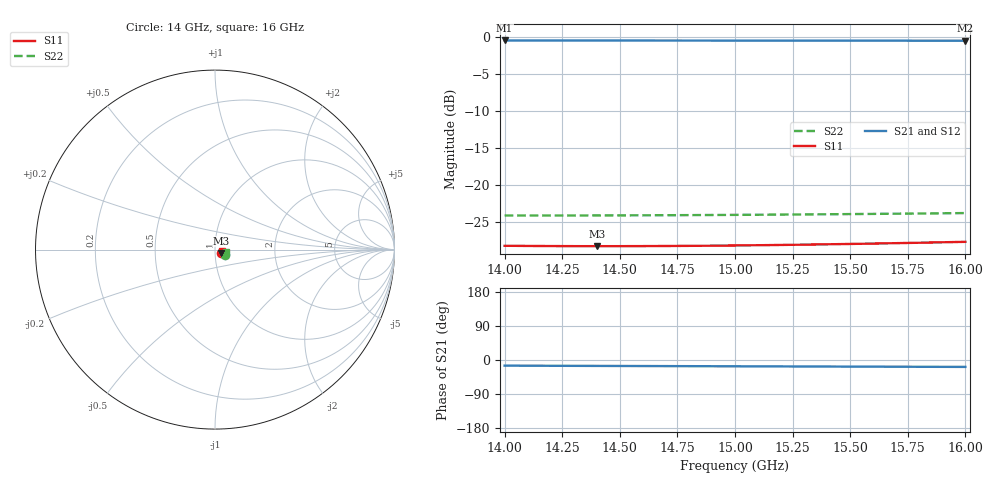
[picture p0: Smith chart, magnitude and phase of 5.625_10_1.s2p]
! Created Tue Dec 15 14:15:00 2020
# hz S ma R 50
! 2 Port Network Data from Sweep1.SP1.SP block
! freq  magS11  angS11  magS21  angS21  magS12  angS12  magS22  angS22
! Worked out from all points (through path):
!   21 points, 14 GHz to 16 GHz, reference 50 ohm
!   highest |S21| = -0.53 dB at 14 GHz (marker M1); lowest = -0.6 dB at 16 GHz (marker M2)
!   group delay of S21, straight-line fit = 4.6 ps
!   lowest |S11| = -28.3 dB at 14.4 GHz (marker M3), VSWR 1.08, Z = 53.5 - j1.94 ohm
!   |S11| at or under -10 dB: start of sweep to end of sweep
!   |S22| runs from -24.2 to -23.9 dB; largest |S21 - S12| = 0
1.4e10  0.03859 -33.6  0.9408 -14.9  0.9408 -14.9  0.06181 -27.7
1.41e10  0.03849 -32.2  0.9406 -15.1  0.9406 -15.1  0.0618 -26.9
1.42e10  0.03841 -30.8  0.9404 -15.3  0.9404 -15.3  0.06181 -26.1
1.43e10  0.03837 -29.5  0.9402 -15.4  0.9402 -15.4  0.06183 -25.4
1.44e10  0.03835 -28.1  0.94 -15.6  0.94 -15.6  0.06187 -24.6
1.45e10  0.03836 -26.8  0.9398 -15.8  0.9398 -15.8  0.06192 -23.9
1.46e10  0.03839 -25.5  0.9396 -15.9  0.9396 -15.9  0.06199 -23.2
1.47e10  0.03845 -24.2  0.9394 -16.1  0.9394 -16.1  0.06207 -22.4
1.48e10  0.03853 -23.0  0.9392 -16.3  0.9392 -16.3  0.06217 -21.7
1.49e10  0.03864 -21.7  0.939 -16.4  0.939 -16.4  0.06228 -21.0
1.5e10  0.03877 -20.5  0.9388 -16.6  0.9388 -16.6  0.0624 -20.4
1.51e10  0.03892 -19.3  0.9386 -16.8  0.9386 -16.8  0.06253 -19.7
1.52e10  0.03908 -18.2  0.9384 -16.9  0.9384 -16.9  0.06267 -19.1
1.53e10  0.03927 -17.0  0.9382 -17.1  0.9382 -17.1  0.06283 -18.4
1.54e10  0.03948 -15.9  0.938 -17.3  0.938 -17.3  0.06299 -17.8
1.55e10  0.0397 -14.8  0.9378 -17.4  0.9378 -17.4  0.06317 -17.2
1.56e10  0.03993 -13.8  0.9376 -17.6  0.9376 -17.6  0.06335 -16.6
1.57e10  0.04019 -12.8  0.9375 -17.7  0.9375 -17.7  0.06355 -16.0
1.58e10  0.04045 -11.8  0.9373 -17.9  0.9373 -17.9  0.06375 -15.4
1.59e10  0.04073 -10.8  0.9371 -18.1  0.9371 -18.1  0.06396 -14.8
1.6e10  0.04103 -9.9  0.9369 -18.2  0.9369 -18.2  0.06417 -14.3
